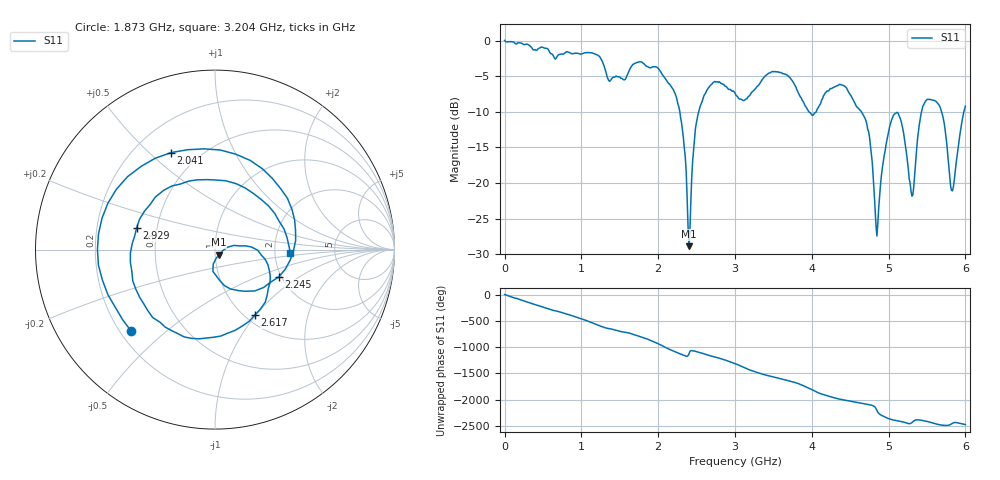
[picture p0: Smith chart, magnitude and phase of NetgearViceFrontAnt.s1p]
# Hz S RI R 50
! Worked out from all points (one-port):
!   501 points, 1 MHz to 6 GHz, reference 50 ohm
!   lowest |S11| = -28.9 dB at 2.401 GHz (marker M1), VSWR 1.07, Z = 52.1 - j3.01 ohm
!   |S11| at or under -10 dB: 2.282 GHz to 2.527 GHz (245.6 MHz wide, 10.2 % of centre); 4.646 GHz to 5.429 GHz (782.5 MHz wide, 15.5 % of centre); 5.69 GHz to 5.98 GHz (290 MHz wide, 4.97 % of centre)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
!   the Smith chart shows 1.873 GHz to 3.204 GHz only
!   S11 on the Smith chart (normalised r, x): 1.873 GHz: 0.24, -0.39; 2.041 GHz: 0.35, +0.59; 2.245 GHz: 1.94, -0.69; 2.617 GHz: 1.11, -0.99; 2.929 GHz: 0.38, +0.12; 3.204 GHz: 2.44, -0.11
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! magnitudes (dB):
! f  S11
! 1 MHz  0.0
! 756.9 MHz  -1.9
! 1.501 GHz  -5.1
! 1.873 GHz  -3.7
! 2.041 GHz  -4.5
! 2.245 GHz  -8.3
! 2.257 GHz  -8.9
! 2.341 GHz  -15.1
! 2.401 GHz  -28.9
! 2.497 GHz  -11.6
! 2.617 GHz  -7.4
! 2.929 GHz  -6.9
! 3.001 GHz  -7.4
! 3.204 GHz  -7.5
! 3.756 GHz  -5.8
! 4.008 GHz  -10.5
! 4.5 GHz  -7.6
! 4.728 GHz  -12.5
! 4.848 GHz  -27.4
! 5.064 GHz  -10.5
! 5.16 GHz  -11.2
! 5.256 GHz  -17.9
! 5.316 GHz  -21.7
! 5.436 GHz  -9.6
! 5.592 GHz  -8.4
! 5.712 GHz  -10.9
! 5.832 GHz  -21.1
! 6 GHz  -9.2
